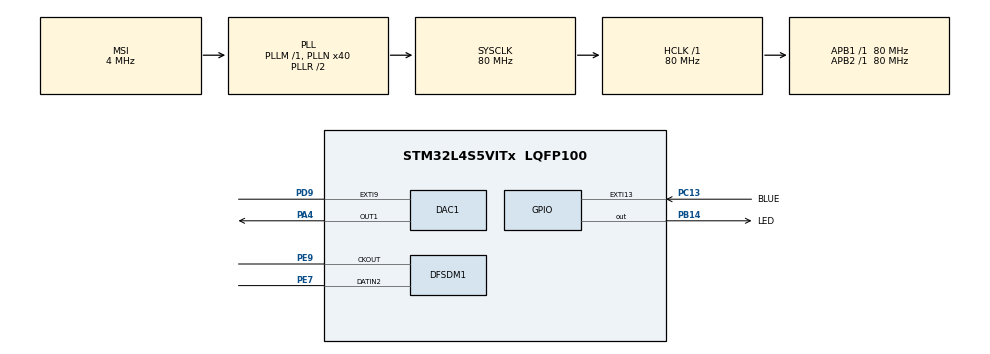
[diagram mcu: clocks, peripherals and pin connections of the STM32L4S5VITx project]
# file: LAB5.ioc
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DAC1.DAC_HighFrequency-DAC_OUT1=DAC_HIGH_FREQUENCY_INTERFACE_MODE_DISABLE
DAC1.DAC_Trigger-DAC_OUT1=DAC_TRIGGER_T2_TRGO
DFSDM1.Divider=34
DFSDM1.DmaMode_reg_FIL0=ENABLE
DFSDM1.FastMode_reg_FIL0=ENABLE
DFSDM1.Filter_regChannel_FIL0=DFSDM_CHANNEL_2
DFSDM1.Fosr_FIL0=55
DFSDM1.SincOrder_FIL0=DFSDM_FILTER_SINC3_ORDER
Dma.DAC1_CH1.1.Direction=DMA_MEMORY_TO_PERIPH
Dma.DAC1_CH1.1.EventEnable=DISABLE
Dma.DAC1_CH1.1.Instance=DMA1_Channel3
Dma.DAC1_CH1.1.MemDataAlignment=DMA_MDATAALIGN_HALFWORD
Dma.DAC1_CH1.1.MemInc=DMA_MINC_ENABLE
Dma.DAC1_CH1.1.Mode=DMA_CIRCULAR
Dma.DAC1_CH1.1.PeriphDataAlignment=DMA_PDATAALIGN_HALFWORD
Dma.DAC1_CH1.1.PeriphInc=DMA_PINC_DISABLE
Dma.DAC1_CH1.1.Polarity=HAL_DMAMUX_REQUEST_GEN_RISING
Dma.DAC1_CH1.1.Priority=DMA_PRIORITY_LOW
Dma.DAC1_CH1.1.RequestNumber=1
Dma.DAC1_CH1.1.SignalID=NONE
Dma.DAC1_CH1.1.SyncEnable=DISABLE
Dma.DAC1_CH1.1.SyncPolarity=HAL_DMAMUX_SYNC_NO_EVENT
Dma.DAC1_CH1.1.SyncRequestNumber=1
Dma.DAC1_CH1.1.SyncSignalID=NONE
Dma.DFSDM1_FLT0.2.Direction=DMA_PERIPH_TO_MEMORY
Dma.DFSDM1_FLT0.2.EventEnable=DISABLE
Dma.DFSDM1_FLT0.2.Instance=DMA1_Channel1
Dma.DFSDM1_FLT0.2.MemDataAlignment=DMA_MDATAALIGN_WORD
Dma.DFSDM1_FLT0.2.MemInc=DMA_MINC_ENABLE
Dma.DFSDM1_FLT0.2.Mode=DMA_NORMAL
Dma.DFSDM1_FLT0.2.PeriphDataAlignment=DMA_PDATAALIGN_WORD
Dma.DFSDM1_FLT0.2.PeriphInc=DMA_PINC_DISABLE
Dma.DFSDM1_FLT0.2.Polarity=HAL_DMAMUX_REQUEST_GEN_RISING
Dma.DFSDM1_FLT0.2.Priority=DMA_PRIORITY_LOW
Dma.DFSDM1_FLT0.2.RequestNumber=1
Dma.DFSDM1_FLT0.2.SignalID=NONE
Dma.DFSDM1_FLT0.2.SyncEnable=DISABLE
Dma.DFSDM1_FLT0.2.SyncPolarity=HAL_DMAMUX_SYNC_NO_EVENT
Dma.DFSDM1_FLT0.2.SyncRequestNumber=1
Dma.DFSDM1_FLT0.2.SyncSignalID=NONE
Dma.Request0=TIM2_UP
Dma.Request1=DAC1_CH1
Dma.Request2=DFSDM1_FLT0
Dma.TIM2_UP.0.Direction=DMA_PERIPH_TO_MEMORY
Dma.TIM2_UP.0.EventEnable=DISABLE
Dma.TIM2_UP.0.Instance=DMA1_Channel2
Dma.TIM2_UP.0.MemDataAlignment=DMA_MDATAALIGN_WORD
Dma.TIM2_UP.0.MemInc=DMA_MINC_ENABLE
Dma.TIM2_UP.0.Mode=DMA_NORMAL
Dma.TIM2_UP.0.PeriphDataAlignment=DMA_PDATAALIGN_WORD
Dma.TIM2_UP.0.PeriphInc=DMA_PINC_DISABLE
Dma.TIM2_UP.0.Polarity=HAL_DMAMUX_REQUEST_GEN_RISING
Dma.TIM2_UP.0.Priority=DMA_PRIORITY_LOW
Dma.TIM2_UP.0.RequestNumber=1
Dma.TIM2_UP.0.SignalID=NONE
Dma.TIM2_UP.0.SyncEnable=DISABLE
Dma.TIM2_UP.0.SyncPolarity=HAL_DMAMUX_SYNC_NO_EVENT
Dma.TIM2_UP.0.SyncRequestNumber=1
Dma.TIM2_UP.0.SyncSignalID=NONE
Mcu.Family=STM32L4
Mcu.Name=STM32L4S5VITx
Mcu.Package=LQFP100
NVIC.DFSDM1_FLT0_IRQn=true\:0\:0\:false\:false\:true\:true\:true\:true
NVIC.DMA1_Channel1_IRQn=true\:0\:0\:false\:false\:true\:false\:true\:true
NVIC.DMA1_Channel2_IRQn=true\:0\:0\:false\:false\:true\:false\:true\:true
NVIC.DMA1_Channel3_IRQn=true\:0\:0\:false\:false\:true\:false\:true\:true
NVIC.EXTI15_10_IRQn=true\:0\:0\:false\:false\:true\:true\:true\:true
NVIC.PriorityGroup=NVIC_PRIORITYGROUP_4
NVIC.TIM2_IRQn=true\:0\:0\:false\:false\:true\:true\:true\:true
PA4.Signal=COMP_DAC11_group
PB14.GPIO_Label=LED
PB14.Signal=GPIO_Output
PC13.GPIO_Label=BLUE
PC13.Signal=GPXTI13
PD9.Signal=GPXTI9
PE7.Signal=S_DATAIN2DFSDM1
PE9.Signal=S_CKOUTDFSDM1
ProjectManager.HeapSize=0x200
ProjectManager.StackSize=0x400
ProjectManager.TargetToolchain=STM32CubeIDE
RCC.ADCFreq_Value=48000000
RCC.AHBFreq_Value=80000000
RCC.APB1Freq_Value=80000000
RCC.APB1TimFreq_Value=80000000
RCC.APB2Freq_Value=80000000
RCC.APB2TimFreq_Value=80000000
RCC.CortexFreq_Value=80000000
RCC.HCLKFreq_Value=80000000
RCC.HSE_VALUE=8000000
RCC.HSI48_VALUE=48000000
RCC.HSI_VALUE=16000000
RCC.LSE_VALUE=32768
RCC.MSI_VALUE=4000000
RCC.PLLN=40
RCC.PLLSAI1N=24
RCC.SYSCLKFreq_VALUE=80000000
RCC.SYSCLKSource=RCC_SYSCLKSOURCE_PLLCLK
RCC.USBFreq_Value=48000000
RCC.VCOOutputFreq_Value=160000000
SH.COMP_DAC11_group.0=DAC1_OUT1,DAC_OUT1
SH.S_CKOUTDFSDM1.0=DFSDM1_CKOUT,PDM_SPI_input_from_ch2_and_internal_clock
SH.S_CKOUTDFSDM1.1=DFSDM1_CKOUT,CKOUT
SH.S_DATAIN2DFSDM1.0=DFSDM1_DATIN2,PDM_SPI_input_from_ch2_and_internal_clock
TIM2.Period=1814
TIM2.TIM_MasterOutputTrigger=TIM_TRGO_UPDATE
VP_TIM2_VS_ClockSourceINT.Mode=Internal
board=B-L4S5I-IOT01A

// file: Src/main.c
/* USER CODE BEGIN Header */
/**
  ******************************************************************************
  * @file           : main.c
  * @brief          : Main program body
  ******************************************************************************
  * @attention
  *
  * Copyright (c) 2022 STMicroelectronics.
  * All rights reserved.
  *
  * This software is licensed under terms that can be found in the LICENSE file
  * in the root directory of this software component.
  * If no LICENSE file comes with this software, it is provided AS-IS.
  *
  ******************************************************************************
  */
/* USER CODE END Header */
#include "main.h"

DAC_HandleTypeDef hdac1;
DMA_HandleTypeDef hdma_dac1_ch1;

DFSDM_Filter_HandleTypeDef hdfsdm1_filter0;
DFSDM_Channel_HandleTypeDef hdfsdm1_channel2;
DMA_HandleTypeDef hdma_dfsdm1_flt0;

TIM_HandleTypeDef htim2;
DMA_HandleTypeDef hdma_tim2_up;

void SystemClock_Config(void);
static void MX_GPIO_Init(void);
static void MX_DMA_Init(void);
static void MX_DAC1_Init(void);
static void MX_TIM2_Init(void);
static void MX_DFSDM1_Init(void);

/* USER CODE BEGIN 0 */

int32_t arrayOne[50000];
uint16_t forDac[50000];

uint16_t dacValue = 0;
int32_t micValue = 0;

void HAL_GPIO_EXTI_Callback (uint16_t GPIO_Pin);
void HAL_DFSDM_FilterRegConvCpltCallback (DFSDM_Filter_HandleTypeDef * hdfsdm_filter);
//void HAL_DFSDM_FilterRegConvHalfCpltCallback (DFSDM_Filter_HandleTypeDef * hdfsdm_filter);

/* USER CODE END 0 */

int main(void)
{
  /* USER CODE BEGIN 1 */

	for (int i = 0; i < 50000 ; i++){
		arrayOne[i] = (int32_t)500;
	}

  /* USER CODE END 1 */

  /* MCU Configuration--------------------------------------------------------*/

  /* Reset of all peripherals, Initializes the Flash interface and the Systick. */
  HAL_Init();

  /* Configure the system clock */
  SystemClock_Config();

  /* Initialize all configured peripherals */
  MX_GPIO_Init();
  MX_DMA_Init();
  MX_DAC1_Init();
  MX_TIM2_Init();
  MX_DFSDM1_Init();
  /* USER CODE BEGIN 2 */

  // INIT
  //HAL_StatusTypeDef HAL_DFSDM_ChannelInit(&hdfsdm1_channel2);
  //HAL_StatusTypeDef HAL_DFSDM_FilterInit(&hdfsdm1_filter0);
  HAL_TIM_Base_Start(&htim2);
  HAL_DMA_Init(&hdma_dac1_ch1);
  HAL_DMA_Init(&hdma_dfsdm1_flt0);
  HAL_DMA_Init(&hdma_tim2_up);
//  HAL_DAC_Start_DMA(&hdac1, DAC_CHANNEL_1, (uint32_t*)arrayOne, 50000, DAC_ALIGN_12B_R);

//  HAL_DFSDM_FilterRegularStart_DMA(&hdfsdm1_filter0, (int32_t*)arrayOne, 50000);

  /* USER CODE END 2 */

  /* Infinite loop */
  while (1)
  {

  }
}

void SystemClock_Config(void)
{
  RCC_OscInitTypeDef RCC_OscInitStruct = {0};
  RCC_ClkInitTypeDef RCC_ClkInitStruct = {0};

  /** Configure the main internal regulator output voltage
  */
  if (HAL_PWREx_ControlVoltageScaling(PWR_REGULATOR_VOLTAGE_SCALE1) != HAL_OK)
  {
    Error_Handler();
  }

  /** Initializes the RCC Oscillators according to the specified parameters
  * in the RCC_OscInitTypeDef structure.
  */
  RCC_OscInitStruct.OscillatorType = RCC_OSCILLATORTYPE_MSI;
  RCC_OscInitStruct.MSIState = RCC_MSI_ON;
  RCC_OscInitStruct.MSICalibrationValue = 0;
  RCC_OscInitStruct.MSIClockRange = RCC_MSIRANGE_6;
  RCC_OscInitStruct.PLL.PLLState = RCC_PLL_ON;
  RCC_OscInitStruct.PLL.PLLSource = RCC_PLLSOURCE_MSI;
  RCC_OscInitStruct.PLL.PLLM = 1;
  RCC_OscInitStruct.PLL.PLLN = 40;
  RCC_OscInitStruct.PLL.PLLP = RCC_PLLP_DIV2;
  RCC_OscInitStruct.PLL.PLLQ = RCC_PLLQ_DIV2;
  RCC_OscInitStruct.PLL.PLLR = RCC_PLLR_DIV2;
  if (HAL_RCC_OscConfig(&RCC_OscInitStruct) != HAL_OK)
  {
    Error_Handler();
  }

  /** Initializes the CPU, AHB and APB buses clocks
  */
  RCC_ClkInitStruct.ClockType = RCC_CLOCKTYPE_HCLK|RCC_CLOCKTYPE_SYSCLK
                              |RCC_CLOCKTYPE_PCLK1|RCC_CLOCKTYPE_PCLK2;
  RCC_ClkInitStruct.SYSCLKSource = RCC_SYSCLKSOURCE_PLLCLK;
  RCC_ClkInitStruct.AHBCLKDivider = RCC_SYSCLK_DIV1;
  RCC_ClkInitStruct.APB1CLKDivider = RCC_HCLK_DIV1;
  RCC_ClkInitStruct.APB2CLKDivider = RCC_HCLK_DIV1;

  if (HAL_RCC_ClockConfig(&RCC_ClkInitStruct, FLASH_LATENCY_3) != HAL_OK)
  {
    Error_Handler();
  }
}

static void MX_DAC1_Init(void)
{

  DAC_ChannelConfTypeDef sConfig = {0};

  /** DAC Initialization
  */
  hdac1.Instance = DAC1;
  if (HAL_DAC_Init(&hdac1) != HAL_OK)
  {
    Error_Handler();
  }

  /** DAC channel OUT1 config
  */
  sConfig.DAC_SampleAndHold = DAC_SAMPLEANDHOLD_DISABLE;
  sConfig.DAC_Trigger = DAC_TRIGGER_T2_TRGO;
  sConfig.DAC_HighFrequency = DAC_HIGH_FREQUENCY_INTERFACE_MODE_DISABLE;
  sConfig.DAC_OutputBuffer = DAC_OUTPUTBUFFER_ENABLE;
  sConfig.DAC_ConnectOnChipPeripheral = DAC_CHIPCONNECT_DISABLE;
  sConfig.DAC_UserTrimming = DAC_TRIMMING_FACTORY;
  if (HAL_DAC_ConfigChannel(&hdac1, &sConfig, DAC_CHANNEL_1) != HAL_OK)
  {
    Error_Handler();
  }

}

static void MX_DFSDM1_Init(void)
{

  hdfsdm1_filter0.Instance = DFSDM1_Filter0;
  hdfsdm1_filter0.Init.RegularParam.Trigger = DFSDM_FILTER_SW_TRIGGER;
  hdfsdm1_filter0.Init.RegularParam.FastMode = ENABLE;
  hdfsdm1_filter0.Init.RegularParam.DmaMode = ENABLE;
  hdfsdm1_filter0.Init.FilterParam.SincOrder = DFSDM_FILTER_SINC3_ORDER;
  hdfsdm1_filter0.Init.FilterParam.Oversampling = 52;
  hdfsdm1_filter0.Init.FilterParam.IntOversampling = 1;
  if (HAL_DFSDM_FilterInit(&hdfsdm1_filter0) != HAL_OK)
  {
    Error_Handler();
  }
  hdfsdm1_channel2.Instance = DFSDM1_Channel2;
  hdfsdm1_channel2.Init.OutputClock.Activation = ENABLE;
  hdfsdm1_channel2.Init.OutputClock.Selection = DFSDM_CHANNEL_OUTPUT_CLOCK_SYSTEM;
  hdfsdm1_channel2.Init.OutputClock.Divider = 35;
  hdfsdm1_channel2.Init.Input.Multiplexer = DFSDM_CHANNEL_EXTERNAL_INPUTS;
  hdfsdm1_channel2.Init.Input.DataPacking = DFSDM_CHANNEL_STANDARD_MODE;
  hdfsdm1_channel2.Init.Input.Pins = DFSDM_CHANNEL_SAME_CHANNEL_PINS;
  hdfsdm1_channel2.Init.SerialInterface.Type = DFSDM_CHANNEL_SPI_RISING;
  hdfsdm1_channel2.Init.SerialInterface.SpiClock = DFSDM_CHANNEL_SPI_CLOCK_INTERNAL;
  hdfsdm1_channel2.Init.Awd.FilterOrder = DFSDM_CHANNEL_FASTSINC_ORDER;
  hdfsdm1_channel2.Init.Awd.Oversampling = 1;
  hdfsdm1_channel2.Init.Offset = 0;
  hdfsdm1_channel2.Init.RightBitShift = 0x00;
  if (HAL_DFSDM_ChannelInit(&hdfsdm1_channel2) != HAL_OK)
  {
    Error_Handler();
  }
  if (HAL_DFSDM_FilterConfigRegChannel(&hdfsdm1_filter0, DFSDM_CHANNEL_2, DFSDM_CONTINUOUS_CONV_ON) != HAL_OK)
  {
    Error_Handler();
  }

}

static void MX_TIM2_Init(void)
{

  TIM_ClockConfigTypeDef sClockSourceConfig = {0};
  TIM_MasterConfigTypeDef sMasterConfig = {0};

  htim2.Instance = TIM2;
  htim2.Init.Prescaler = 0;
  htim2.Init.CounterMode = TIM_COUNTERMODE_UP;
  htim2.Init.Period = 1810;
  htim2.Init.ClockDivision = TIM_CLOCKDIVISION_DIV1;
  htim2.Init.AutoReloadPreload = TIM_AUTORELOAD_PRELOAD_DISABLE;
  if (HAL_TIM_Base_Init(&htim2) != HAL_OK)
  {
    Error_Handler();
  }
  sClockSourceConfig.ClockSource = TIM_CLOCKSOURCE_INTERNAL;
  if (HAL_TIM_ConfigClockSource(&htim2, &sClockSourceConfig) != HAL_OK)
  {
    Error_Handler();
  }
  sMasterConfig.MasterOutputTrigger = TIM_TRGO_UPDATE;
  sMasterConfig.MasterSlaveMode = TIM_MASTERSLAVEMODE_DISABLE;
  if (HAL_TIMEx_MasterConfigSynchronization(&htim2, &sMasterConfig) != HAL_OK)
  {
    Error_Handler();
  }

}

static void MX_DMA_Init(void)
{

  /* DMA controller clock enable */
  __HAL_RCC_DMAMUX1_CLK_ENABLE();
  __HAL_RCC_DMA1_CLK_ENABLE();

  /* DMA interrupt init */
  /* DMA1_Channel1_IRQn interrupt configuration */
  HAL_NVIC_SetPriority(DMA1_Channel1_IRQn, 0, 0);
  HAL_NVIC_EnableIRQ(DMA1_Channel1_IRQn);
  /* DMA1_Channel2_IRQn interrupt configuration */
  HAL_NVIC_SetPriority(DMA1_Channel2_IRQn, 0, 0);
  HAL_NVIC_EnableIRQ(DMA1_Channel2_IRQn);
  /* DMA1_Channel3_IRQn interrupt configuration */
  HAL_NVIC_SetPriority(DMA1_Channel3_IRQn, 0, 0);
  HAL_NVIC_EnableIRQ(DMA1_Channel3_IRQn);

}

static void MX_GPIO_Init(void)
{
  GPIO_InitTypeDef GPIO_InitStruct = {0};

  /* GPIO Ports Clock Enable */
  __HAL_RCC_GPIOC_CLK_ENABLE();
  __HAL_RCC_GPIOA_CLK_ENABLE();
  __HAL_RCC_GPIOE_CLK_ENABLE();
  __HAL_RCC_GPIOB_CLK_ENABLE();
  __HAL_RCC_GPIOD_CLK_ENABLE();

  /*Configure GPIO pin Output Level */
  HAL_GPIO_WritePin(LED_GPIO_Port, LED_Pin, GPIO_PIN_RESET);

  /*Configure GPIO pin : BLUE_Pin */
  GPIO_InitStruct.Pin = BLUE_Pin;
  GPIO_InitStruct.Mode = GPIO_MODE_IT_RISING;
  GPIO_InitStruct.Pull = GPIO_NOPULL;
  HAL_GPIO_Init(BLUE_GPIO_Port, &GPIO_InitStruct);

  /*Configure GPIO pin : LED_Pin */
  GPIO_InitStruct.Pin = LED_Pin;
  GPIO_InitStruct.Mode = GPIO_MODE_OUTPUT_PP;
  GPIO_InitStruct.Pull = GPIO_NOPULL;
  GPIO_InitStruct.Speed = GPIO_SPEED_FREQ_LOW;
  HAL_GPIO_Init(LED_GPIO_Port, &GPIO_InitStruct);

  /*Configure GPIO pin : PD9 */
  GPIO_InitStruct.Pin = GPIO_PIN_9;
  GPIO_InitStruct.Mode = GPIO_MODE_IT_RISING;
  GPIO_InitStruct.Pull = GPIO_NOPULL;
  HAL_GPIO_Init(GPIOD, &GPIO_InitStruct);

  /* EXTI interrupt init*/
  HAL_NVIC_SetPriority(EXTI15_10_IRQn, 0, 0);
  HAL_NVIC_EnableIRQ(EXTI15_10_IRQn);

}

/* USER CODE BEGIN 4 */

void HAL_GPIO_EXTI_Callback (uint16_t GPIO_Pin) {

	HAL_DAC_Stop_DMA(&hdac1, DAC_CHANNEL_1);
	HAL_DFSDM_FilterRegularStop_DMA(&hdfsdm1_filter0);
	for (int i = 0; i < 50000 ; i++){
		arrayOne[i] = (int32_t)0;
	}
	HAL_DFSDM_FilterRegularStart_DMA(&hdfsdm1_filter0, &arrayOne, 50000);

	if(HAL_GPIO_ReadPin(GPIOB, LED_Pin) == GPIO_PIN_SET) {
		HAL_GPIO_WritePin(GPIOB, LED_Pin, GPIO_PIN_RESET);
	} else {
		HAL_GPIO_WritePin(GPIOB, LED_Pin, GPIO_PIN_SET);
	}
}

void HAL_DFSDM_FilterRegConvCpltCallback (DFSDM_Filter_HandleTypeDef * hdfsdm_filter) {

	for (int i = 0; i < 50000 ; i++){

		micValue = arrayOne[i];

		int32_t temp = arrayOne[i] >> 8;
//		if(temp < -30000) { temp = -30000; }
//		else if(temp > 30000) { temp = 30000; }
		temp = (temp/256)/*max here is 32768*/ + 32768; // total max is 65536 <= 2^16 for 16 bits.

		forDac[i] = (uint16_t)((int16_t)(arrayOne[i] >> 8) + 32748);

		//dacValue = (uint16_t) temp;
	}

	HAL_DAC_Start_DMA(&hdac1, DAC_CHANNEL_1, &forDac, 50000, DAC_ALIGN_12B_R);
	int y = 69;
	int32_t temp = arrayOne[0] >> 8;
	int32_t temp1 = arrayOne[1] >> 8;
	int32_t temp2 = arrayOne[2] >> 8;
	int32_t temp3 = arrayOne[3] >> 8;
	int32_t temp4 = arrayOne[4] >> 8;
	int32_t temp5 = arrayOne[5] >> 8;
	int32_t temp6 = arrayOne[0];
	int32_t temp7 = arrayOne[1];
	int32_t temp8 = arrayOne[2];
	int32_t temp9 = arrayOne[3];
	int32_t temp10 = arrayOne[4];

	uint16_t temp11 = forDac[0];
	uint16_t temp12 = forDac[1];
	uint16_t temp13 = forDac[2];
	uint16_t temp14 = forDac[3];
	uint16_t temp15 = forDac[4];
}

//void HAL_DFSDM_FilterRegConvHalfCpltCallback (DFSDM_Filter_HandleTypeDef * hdfsdm_filter) {
//
//}

/* USER CODE END 4 */

void Error_Handler(void)
{
  __disable_irq();
  while (1)
  {
  }
}
